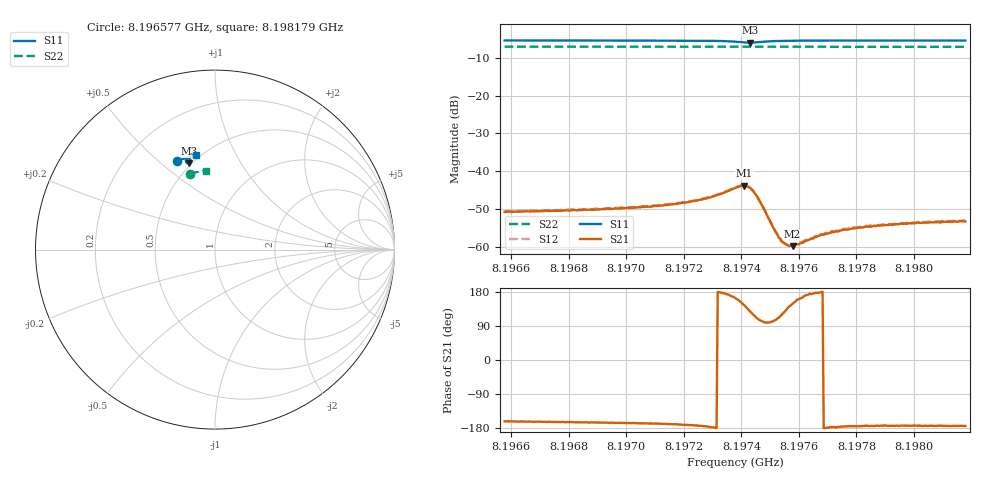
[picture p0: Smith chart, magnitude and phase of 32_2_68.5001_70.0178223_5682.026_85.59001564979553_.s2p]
#  HZ  S  RI  R  50.00
! Rohde & Schwarz Vector Network Analyzer
! Rohde-Schwarz,ZNB20-2Port,1311601062101988,3.16
! Created: UTC 3/20/2024, 4:49:58 PM
! freq[Hz]  re:S11  im:S11  re:S21  im:S21  re:S12  im:S12  re:S22  im:S22
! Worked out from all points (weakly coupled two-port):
!   401 points, 8.196577 GHz to 8.198179 GHz, reference 50 ohm
!   highest |S21| = -43.84 dB at 8.19741 GHz (marker M1); lowest = -59.8 dB at 8.197578 GHz (marker M2)
!   lowest |S11| = -6.0 dB at 8.19743 GHz (marker M3), VSWR 3.02, Z = 24.2 + j31.2 ohm
!   |S11| at or under -10 dB: nowhere
!   |S22| runs from -7.1 to -7.0 dB; largest |S21 - S12| = 0.00035
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8.1965771e9  -0.209 0.4942  -0.00276 -0.000901  -0.00285 -0.000802  -0.1378 0.4228
8.1968454e9  -0.1902 0.5013  -0.00295 -0.000811  -0.00301 -0.000749  -0.1233 0.4269
8.1971136e9  -0.1694 0.5075  -0.00341 -0.000711  -0.00351 -0.000593  -0.1086 0.4305
8.1971897e9  -0.1625 0.509  -0.00374 -0.00065  -0.0038 -0.000487  -0.1044 0.4313
8.1972698e9  -0.1536 0.5095  -0.00427 -0.000395  -0.0044 -0.000237  -0.0998 0.4321
8.1973218e9  -0.1461 0.5081  -0.00492 7.35e-05  -0.005 0.000264  -0.0969 0.4326
8.1973778e9  -0.1366 0.499  -0.00577 0.00166  -0.00579 0.00197  -0.0938 0.433
8.1974099e9  -0.1373 0.4871  -0.00524 0.00371  -0.00517 0.00401  -0.0922 0.4329
8.1974299e9  -0.1451 0.4808  -0.00373 0.00471  -0.00352 0.00493  -0.0912 0.433
8.1974419e9  -0.1513 0.4804  -0.0026 0.00473  -0.00242 0.00491  -0.0908 0.4331
8.1974579e9  -0.1582 0.4839  -0.00137 0.00417  -0.0012 0.0043  -0.09 0.4334
8.197514e9  -0.1613 0.5008  -0.000415 0.00167  -0.000344 0.00168  -0.0871 0.4343
8.197534e9  -0.1592 0.5044  -0.000548 0.00117  -0.000477 0.00123  -0.086 0.4347
8.197554e9  -0.1568 0.5071  -0.000707 0.000813  -0.000683 0.000869  -0.0847 0.4349
8.197578e9  -0.1542 0.5095  -0.000873 0.000527  -0.000861 0.000581  -0.0834 0.4351
8.197602e9  -0.1516 0.5111  -0.00104 0.000353  -0.00103 0.000395  -0.082 0.4353
8.1976461e9  -0.1471 0.5134  -0.00128 0.000119  -0.0013 0.000183  -0.0796 0.4358
8.1976661e9  -0.1451 0.5144  -0.00139 6.77e-05  -0.00139 0.000108  -0.0783 0.4359
8.1977222e9  -0.1401 0.5163  -0.00157 -9.38e-05  -0.00163 9.76e-06  -0.0752 0.4364
8.1977942e9  -0.134 0.518  -0.00175 -0.00017  -0.00179 -7.87e-05  -0.0713 0.4369
8.1979143e9  -0.1247 0.5207  -0.00197 -0.00022  -0.002 -0.000146  -0.0645 0.4377
8.1981786e9  -0.1052 0.5248  -0.00215 -0.000226  -0.00219 -0.000142  -0.0494 0.4393
